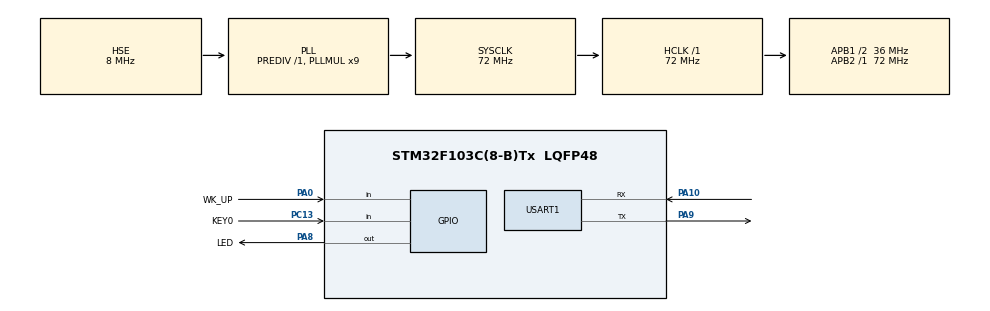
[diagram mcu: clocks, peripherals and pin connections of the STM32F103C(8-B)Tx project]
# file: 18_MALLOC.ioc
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Mcu.Family=STM32F1
Mcu.Name=STM32F103C(8-B)Tx
Mcu.Package=LQFP48
NVIC.PriorityGroup=NVIC_PRIORITYGROUP_2
NVIC.TIM2_IRQn=true\:2\:1\:true\:false\:true\:true\:true\:true
NVIC.USART1_IRQn=true\:2\:0\:true\:false\:true\:true\:true\:true
PA0-WKUP.GPIO_Label=WK_UP
PA0-WKUP.GPIO_PuPd=GPIO_PULLDOWN
PA0-WKUP.Signal=GPIO_Input
PA10.Mode=Asynchronous
PA10.Signal=USART1_RX
PA13.Mode=Serial_Wire
PA13.Signal=SYS_JTMS-SWDIO
PA14.Mode=Serial_Wire
PA14.Signal=SYS_JTCK-SWCLK
PA8.GPIO_Label=LED
PA8.GPIO_PuPd=GPIO_PULLUP
PA8.GPIO_Speed=GPIO_SPEED_FREQ_HIGH
PA8.PinState=GPIO_PIN_SET
PA8.Signal=GPIO_Output
PA9.Mode=Asynchronous
PA9.Signal=USART1_TX
PC13-TAMPER-RTC.GPIO_Label=KEY0
PC13-TAMPER-RTC.GPIO_PuPd=GPIO_PULLUP
PC13-TAMPER-RTC.Signal=GPIO_Input
PC14-OSC32_IN.Mode=LSE-External-Oscillator
PC14-OSC32_IN.Signal=RCC_OSC32_IN
PC15-OSC32_OUT.Mode=LSE-External-Oscillator
PC15-OSC32_OUT.Signal=RCC_OSC32_OUT
PD0-OSC_IN.Mode=HSE-External-Oscillator
PD0-OSC_IN.Signal=RCC_OSC_IN
PD1-OSC_OUT.Mode=HSE-External-Oscillator
PD1-OSC_OUT.Signal=RCC_OSC_OUT
ProjectManager.HeapSize=0x200
ProjectManager.StackSize=0x400
ProjectManager.TargetToolchain=STM32CubeIDE
RCC.AHBFreq_Value=72000000
RCC.APB1CLKDivider=RCC_HCLK_DIV2
RCC.APB1Freq_Value=36000000
RCC.APB1TimFreq_Value=72000000
RCC.APB2Freq_Value=72000000
RCC.APB2TimFreq_Value=72000000
RCC.HCLKFreq_Value=72000000
RCC.PLLMUL=RCC_PLL_MUL9
RCC.PLLSourceVirtual=RCC_PLLSOURCE_HSE
RCC.SYSCLKFreq_VALUE=72000000
RCC.SYSCLKSource=RCC_SYSCLKSOURCE_PLLCLK
RCC.USBFreq_Value=72000000
TIM2.AutoReloadPreload=TIM_AUTORELOAD_PRELOAD_ENABLE
TIM2.Period=1000 - 1
TIM2.Prescaler=72 - 1
USART1.VirtualMode=VM_ASYNC
VP_TIM2_VS_ClockSourceINT.Mode=Internal
board=custom

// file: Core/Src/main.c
/**
 ****************************************************************************************************
 * @file        main.c
 * @author      ALIENTEK
 * @brief       Memory management code code
 * @license     Copyright (C) 2020-2032, ALIENTEK
 ****************************************************************************************************
 * @attention
 *
 * platform  	: ALIENTEK STM32F103 development board
 * website		: https://www.alientek.com
 * forum		: http://www.openedv.com/forum.php
 *
 * change logs	:
 * version		data		notes
 * V1.0			20240222	the first version
 *
 ****************************************************************************************************
 */

/* USER CODE BEGIN Header */

/* USER CODE END Header */
#include "main.h"
#include "tim.h"
#include "usart.h"
#include "gpio.h"

/* USER CODE BEGIN Includes */
#include "../../BSP/LED/led.h"
#include "../../BSP/KEY/key.h"
#include "../../ATK_Middlewares/USMART/usmart.h"
#include "../../ATK_Middlewares/MALLOC/malloc.h"
/* USER CODE END Includes */

/* USER CODE BEGIN PTD */

void stm32f103c8t6_show_mesg(void)
{
	/* The serial port outputs the experimental information */
	printf("\n");
	printf("********************************\r\n");
	printf("STM32F103\r\n");
	printf("USMART Test\r\n");
	printf("ATOM@ALIENTEK\r\n");
	printf("********************************\r\n");
	printf("\r\n");
}

/* USER CODE END PTD */

void SystemClock_Config(void);

int main(void)
{
  /* USER CODE BEGIN 1 */
    uint8_t paddr[20];  /* Store the ASCII value of the P Addr:+p address */
    uint16_t memused = 0;
    uint8_t key;
    uint8_t i = 0;
    uint8_t *p = 0;
    uint8_t *tp = 0;

  /* USER CODE END 1 */

  /* MCU Configuration--------------------------------------------------------*/

  /* Reset of all peripherals, Initializes the Flash interface and the Systick. */
  HAL_Init();

  /* Configure the system clock */
  SystemClock_Config();

  /* Initialize all configured peripherals */
  MX_GPIO_Init();
  MX_USART1_UART_Init();
  MX_TIM2_Init();
  /* USER CODE BEGIN 2 */

  stm32f103c8t6_show_mesg();
  my_mem_init(SRAMIN);                		/* Initializes the internal SRAM memory pool */

  /* USER CODE END 2 */

  /* Infinite loop */
  /* USER CODE BEGIN WHILE */
  while (1)
  {
	  key = key_scan(0);      /* Connected press is not supported */

	  switch (key)
	  {
		  case KEY0_PRES:     /* KEY0 is pressed */
		  {
			 p = mymalloc(SRAMIN, 2048);  /* Apply 2K bytes and write the content to display above the lcd screen */

			  if (p != NULL)
			  {
				  sprintf((char *)p, "Memory Malloc Test%03d", i);        /* Write something to p */
			  }
			  break;
		  }

		  case WKUP_PRES:         /* KEY0 is pressed */
		  {
			  myfree(SRAMIN, p);  /* Release memory */
			  p = 0;              /* Pointing to null address */
			  break;
		  }
	  }

	  if (tp != p)
	  {
		  tp = p;
		  sprintf((char *)paddr, "P Addr:0X%08X", (uint32_t)tp);
		  printf("p addr:%s\r\n",paddr);

		  if (p)
		  {
              printf("The content written is:%s\r\n",p);              /* Displays the contents of P */
		  }
	  }

	  HAL_Delay(10);
	  i++;

	  if ((i % 20) == 0)
	  {
		  memused = my_mem_perused(SRAMIN);
		  sprintf((char *)paddr, "%d.%01d%%", memused / 10, memused % 10);
          printf("Internal memory usage:：%s\r\n",paddr);

		  LED_TOGGLE();  /* LED Blinks */
	  }

    /* USER CODE END WHILE */

  }
}

void SystemClock_Config(void)
{
  RCC_OscInitTypeDef RCC_OscInitStruct = {0};
  RCC_ClkInitTypeDef RCC_ClkInitStruct = {0};

  /** Initializes the RCC Oscillators according to the specified parameters
  * in the RCC_OscInitTypeDef structure.
  */
  RCC_OscInitStruct.OscillatorType = RCC_OSCILLATORTYPE_HSE;
  RCC_OscInitStruct.HSEState = RCC_HSE_ON;
  RCC_OscInitStruct.HSEPredivValue = RCC_HSE_PREDIV_DIV1;
  RCC_OscInitStruct.HSIState = RCC_HSI_ON;
  RCC_OscInitStruct.PLL.PLLState = RCC_PLL_ON;
  RCC_OscInitStruct.PLL.PLLSource = RCC_PLLSOURCE_HSE;
  RCC_OscInitStruct.PLL.PLLMUL = RCC_PLL_MUL9;
  if (HAL_RCC_OscConfig(&RCC_OscInitStruct) != HAL_OK)
  {
    Error_Handler();
  }

  /** Initializes the CPU, AHB and APB buses clocks
  */
  RCC_ClkInitStruct.ClockType = RCC_CLOCKTYPE_HCLK|RCC_CLOCKTYPE_SYSCLK
                              |RCC_CLOCKTYPE_PCLK1|RCC_CLOCKTYPE_PCLK2;
  RCC_ClkInitStruct.SYSCLKSource = RCC_SYSCLKSOURCE_PLLCLK;
  RCC_ClkInitStruct.AHBCLKDivider = RCC_SYSCLK_DIV1;
  RCC_ClkInitStruct.APB1CLKDivider = RCC_HCLK_DIV2;
  RCC_ClkInitStruct.APB2CLKDivider = RCC_HCLK_DIV1;

  if (HAL_RCC_ClockConfig(&RCC_ClkInitStruct, FLASH_LATENCY_2) != HAL_OK)
  {
    Error_Handler();
  }
}

void Error_Handler(void)
{
  __disable_irq();
  while (1)
  {
  }
}
